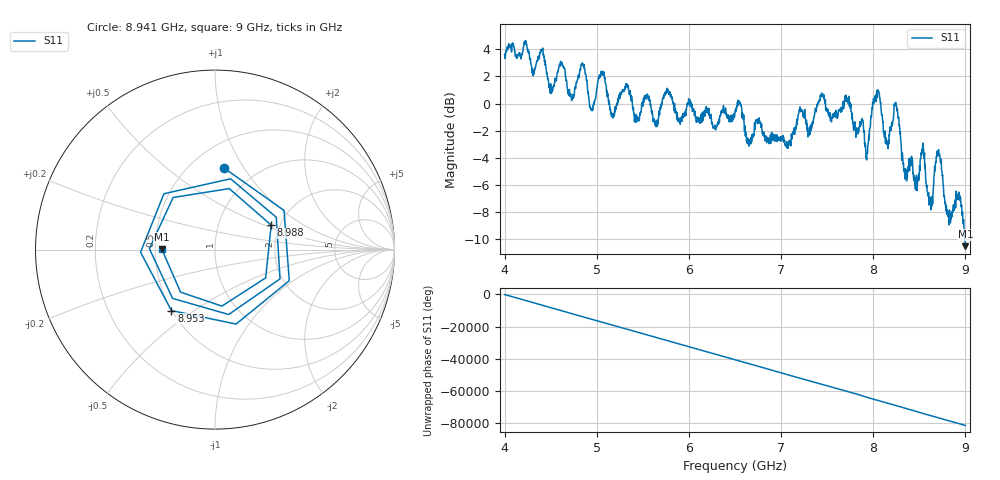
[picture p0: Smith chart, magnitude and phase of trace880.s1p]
! Created with skrf 1.8.0 (http://scikit-rf.org).
# Hz S RI R 50.0
!freq ReS11 ImS11
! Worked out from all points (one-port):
!   1601 points, 4 GHz to 9 GHz, reference 50 ohm
!   lowest |S11| = -10.5 dB at 9 GHz (marker M1), VSWR 1.85, Z = 27.1 + j0.244 ohm
!   |S11| at or under -10 dB: 8.994245 GHz to end of sweep
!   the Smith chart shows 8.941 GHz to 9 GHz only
!   S11 on the Smith chart (normalised r, x): 8.941 GHz: 0.72, +0.82; 8.953 GHz: 0.50, -0.41; 8.988 GHz: 1.80, +0.56; 9 GHz: 0.54, +0.00
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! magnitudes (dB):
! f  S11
! 4 GHz  3.6
! 4.406 GHz  3.9
! 4.509 GHz  0.8
! 4.625 GHz  2.8
! 4.731 GHz  0.4
! 4.853 GHz  2.8
! 4.944 GHz  -0.4
! 5.053 GHz  2.3
! 5.166 GHz  -0.9
! 5.25 GHz  0.8
! 5.875 GHz  -0.9
! 6.5 GHz  -0.6
! 7.125 GHz  -2.3
! 7.441 GHz  0.8
! 7.75 GHz  -0.4
! 7.931 GHz  -3.7
! 8.041 GHz  0.5
! 8.144 GHz  -3.0
! 8.25 GHz  -0.2
! 8.375 GHz  -4.8
! 8.538 GHz  -2.9
! 8.622 GHz  -7.0
! 8.709 GHz  -3.4
! 8.812 GHz  -8.3
! 8.941 GHz  -6.8
! 8.953 GHz  -7.6
! 8.988 GHz  -9.3
! 9 GHz  -10.5
